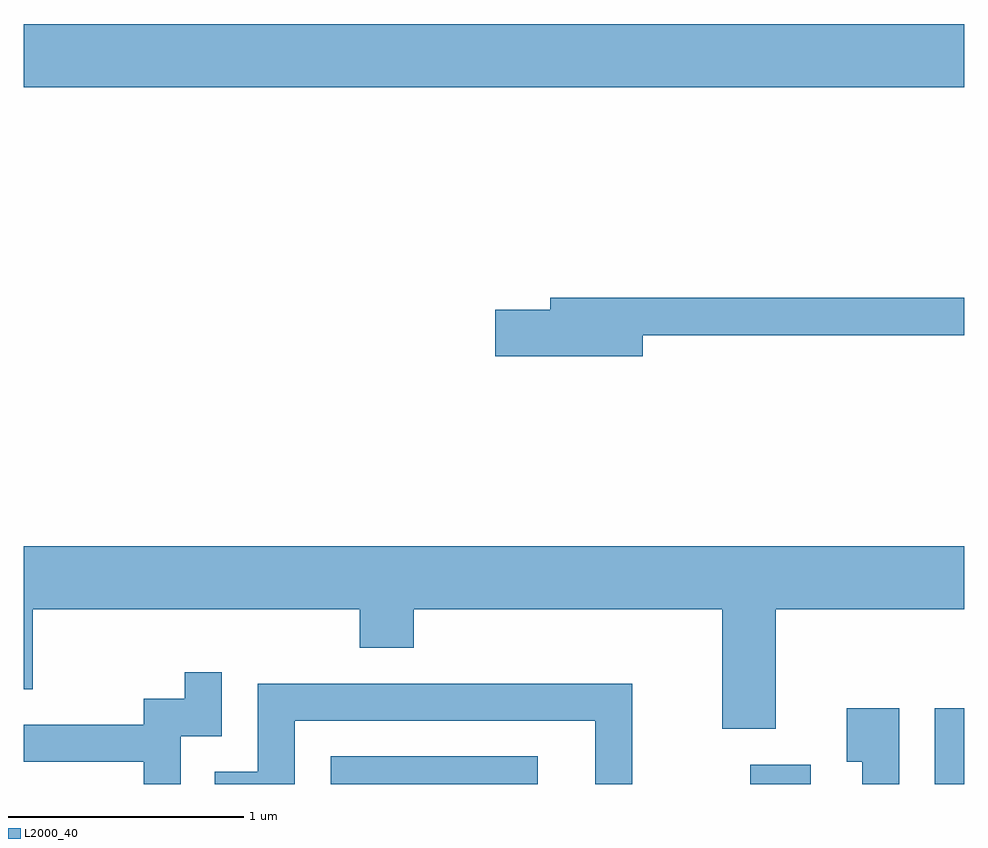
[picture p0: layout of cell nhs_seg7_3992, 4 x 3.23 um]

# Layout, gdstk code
import gdstk
lib = gdstk.Library(unit=1e-6, precision=1e-09)
def R(c, l, rs):  # rectangles x0, y0, x1, y1
    for r in rs: c.add(gdstk.rectangle(r[:2], r[2:], *l))
def P(c, l, *ps):  # polygons
    for p in ps: c.add(gdstk.Polygon(p, *l))
L2000_40 = (2000, 40)

nhs_seg7_3992 = lib.new_cell('nhs_seg7_3992')
R(nhs_seg7_3992, L2000_40, [(308.916,1700.252,309.798,1700.369), (310.701,1700.252,310.959,1700.334), (311.486,1700.252,311.611,1700.574), (307.611,1703.216,311.611,1703.484)])
P(nhs_seg7_3992, L2000_40, [(310.244,1702.161),(311.611,1702.161),(311.611,1702.319),(309.851,1702.319),(309.851,1702.269),(309.616,1702.269),(309.616,1702.071),(310.244,1702.071)],
  [(310.809,1700.996),(311.611,1700.996),(311.611,1701.264),(307.611,1701.264),(307.611,1700.656),(307.649,1700.656),(307.649,1700.996),(309.041,1700.996),(309.041,1700.831),(309.269,1700.831),(309.269,1700.996),(310.581,1700.996),(310.581,1700.486),(310.809,1700.486)],
  [(308.279,1700.456),(308.454,1700.456),(308.454,1700.728),(308.296,1700.728),(308.296,1700.614),(308.121,1700.614),(308.121,1700.504),(307.611,1700.504),(307.611,1700.346),(308.121,1700.346),(308.121,1700.252),(308.279,1700.252)],
  [(308.764,1700.521),(310.041,1700.521),(310.041,1700.252),(310.199,1700.252),(310.199,1700.679),(308.606,1700.679),(308.606,1700.304),(308.423,1700.304),(308.423,1700.252),(308.764,1700.252)],
  [(311.334,1700.574),(311.111,1700.574),(311.111,1700.346),(311.176,1700.346),(311.176,1700.252),(311.334,1700.252)])

lib.write_gds('nhs_seg7_3992.gds')
